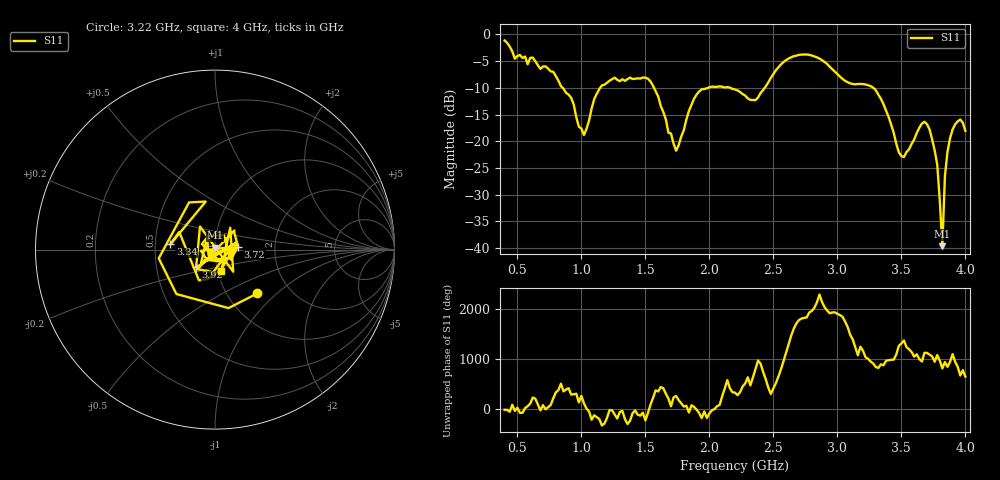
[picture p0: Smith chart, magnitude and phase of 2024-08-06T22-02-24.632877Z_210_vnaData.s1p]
!Created with skrf (http://scikit-rf.org).
# Hz S RI R 50.0
!freq ReS11 ImS11
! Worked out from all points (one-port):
!   181 points, 400 MHz to 4 GHz, reference 50 ohm
!   lowest |S11| = -39.7 dB at 3.82 GHz (marker M1), VSWR 1.02, Z = 50 + j1.04 ohm
!   |S11| at or under -10 dB: 853.7 MHz to 1.147 GHz (293.2 MHz wide, 29.3 % of centre); 1.567 GHz to 1.989 GHz (421.4 MHz wide, 23.7 % of centre); 3.281 GHz to end of sweep (the widest 3 of 4)
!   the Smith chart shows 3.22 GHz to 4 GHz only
!   S11 on the Smith chart (normalised r, x): 3.22 GHz: 1.38, -0.76; 3.34 GHz: 0.60, +0.04; 3.72 GHz: 1.29, +0.04; 3.92 GHz: 0.80, -0.16; 4 GHz: 1.04, -0.25
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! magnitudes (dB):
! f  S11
! 400 MHz  -1.1
! 480 MHz  -4.5
! 620 MHz  -4.3
! 860 MHz  -10.1
! 1.02 GHz  -18.8
! 1.14 GHz  -10.2
! 1.3 GHz  -8.8
! 1.52 GHz  -8.3
! 1.74 GHz  -21.8
! 1.76 GHz  -20.7
! 1.92 GHz  -10.7
! 2.2 GHz  -10.3
! 2.36 GHz  -12.3
! 2.66 GHz  -4.1
! 2.86 GHz  -4.5
! 3.1 GHz  -9.2
! 3.22 GHz  -9.4
! 3.34 GHz  -12.0
! 3.48 GHz  -22.1
! 3.56 GHz  -21.5
! 3.66 GHz  -16.7
! 3.72 GHz  -17.8
! 3.78 GHz  -24.4
! 3.82 GHz  -39.7
! 3.84 GHz  -26.5
! 3.88 GHz  -19.5
! 3.92 GHz  -16.8
! 4 GHz  -18.1
